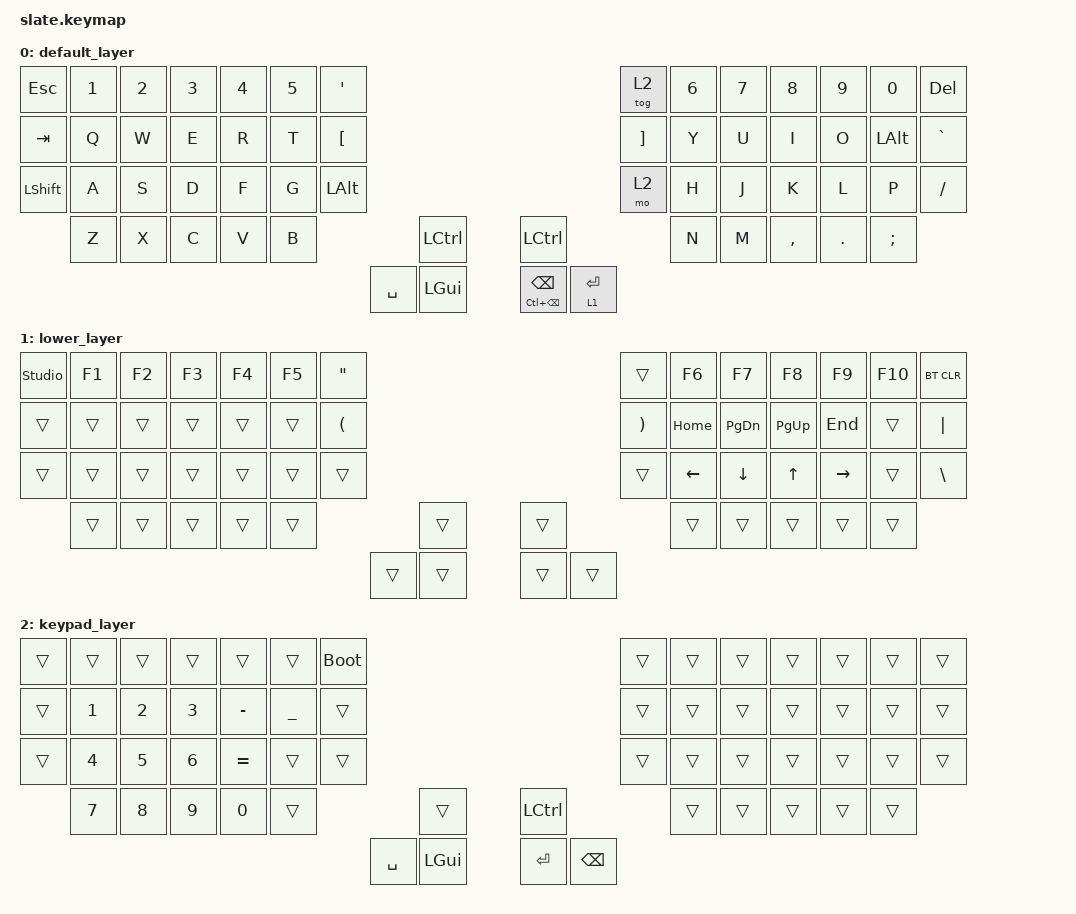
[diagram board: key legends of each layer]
#include <behaviors.dtsi>
#include <dt-bindings/zmk/bt.h>
#include <dt-bindings/zmk/keys.h>

#define default_layer 0
#define lower_layer   1
#define keypad_layer  2

&mt { flavor = "tap-preferred"; };

/ {
    keymap {
        compatible = "zmk,keymap";

        default_layer {
            bindings = <
&kp ESCAPE  &kp N1  &kp N2  &kp N3  &kp N4  &kp N5  &kp SQT                                                                   &tog 2    &kp N6  &kp N7  &kp N8     &kp N9      &kp N0        &kp DEL
&kp TAB     &kp Q   &kp W   &kp E   &kp R   &kp T   &kp LBKT                                                                  &kp RBKT  &kp Y   &kp U   &kp I      &kp O       &kp LEFT_ALT  &kp GRAVE
&kp LSHIFT  &kp A   &kp S   &kp D   &kp F   &kp G   &kp LALT                                                                  &mo 2     &kp H   &kp J   &kp K      &kp L       &kp P         &kp FSLH
            &kp Z   &kp X   &kp C   &kp V   &kp B             &kp SPACE  &kp LGUI   &mt LC(BACKSPACE) BACKSPACE  &lt 1 ENTER            &kp N   &kp M   &kp COMMA  &kp PERIOD  &kp SEMI
                                                                         &kp LCTRL  &kp LCTRL
            >;
        };

        lower_layer {
            bindings = <
&studio_unlock &kp F1  &kp F2  &kp F3  &kp F4  &kp F5  &kp DQT                                            &trans    &kp F6    &kp F7         &kp F8       &kp F9     &kp F10  &bt BT_CLR
&trans         &trans  &trans  &trans  &trans  &trans  &kp LPAR                                           &kp RPAR  &kp HOME  &kp PAGE_DOWN  &kp PAGE_UP  &kp END    &trans   &kp PIPE
&trans         &trans  &trans  &trans  &trans  &trans  &trans                                             &trans    &kp LEFT  &kp DOWN       &kp UP       &kp RIGHT  &trans   &kp BSLH
               &trans  &trans  &trans  &trans  &trans            &trans  &trans    &trans  &trans            &trans    &trans         &trans       &trans     &trans
                                                                         &trans    &trans
            >;
        };

        keypad_layer {
            bindings = <
&trans  &trans  &trans  &trans  &trans     &trans     &bootloader                                            &trans  &trans  &trans  &trans  &trans  &trans  &trans
&trans  &kp N1  &kp N2  &kp N3  &kp MINUS  &kp UNDER  &trans                                                 &trans  &trans  &trans  &trans  &trans  &trans  &trans
&trans  &kp N4  &kp N5  &kp N6  &kp EQUAL  &trans     &trans                                                 &trans  &trans  &trans  &trans  &trans  &trans  &trans
        &kp N7  &kp N8  &kp N9  &kp N0     &trans                  &kp SPACE  &kp LGUI  &kp ENTER  &kp BSPC          &trans  &trans  &trans  &trans  &trans
                                                                              &trans    &kp LCTRL
            >;
        };
    };
};
